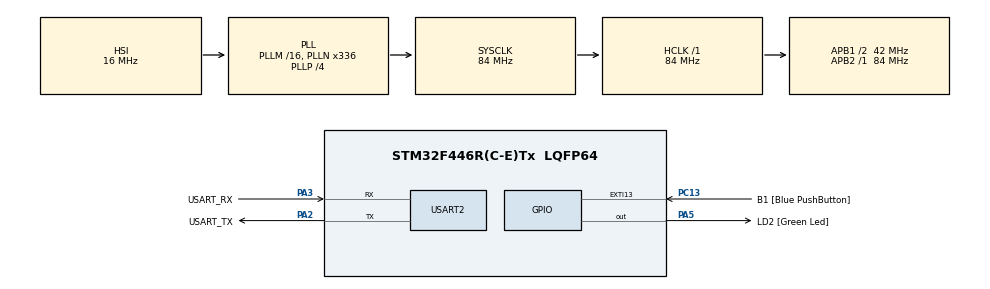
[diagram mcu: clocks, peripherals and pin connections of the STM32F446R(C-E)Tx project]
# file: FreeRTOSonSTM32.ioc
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FREERTOS.Tasks01=Task,0,128,StartTask,Default,NULL,Dynamic,NULL,NULL
FREERTOS.Timers01=myTimer01,Callback01,osTimerPeriodic,Default,NULL,Dynamic,NULL
FREERTOS.configUSE_TIMERS=1
Mcu.Family=STM32F4
Mcu.Name=STM32F446R(C-E)Tx
Mcu.Package=LQFP64
NVIC.EXTI15_10_IRQn=true\:5\:0\:false\:false\:true\:true\:true\:true
NVIC.PriorityGroup=NVIC_PRIORITYGROUP_4
PA13.GPIO_Label=TMS
PA13.Mode=Serial_Wire
PA13.Signal=SYS_JTMS-SWDIO
PA14.GPIO_Label=TCK
PA14.Mode=Serial_Wire
PA14.Signal=SYS_JTCK-SWCLK
PA2.GPIO_Label=USART_TX
PA2.Mode=Asynchronous
PA2.Signal=USART2_TX
PA3.GPIO_Label=USART_RX
PA3.Mode=Asynchronous
PA3.Signal=USART2_RX
PA5.GPIO_Label=LD2 [Green Led]
PA5.Signal=GPIO_Output
PB3.GPIO_Label=SWO
PB3.Signal=SYS_JTDO-SWO
PC13.GPIO_Label=B1 [Blue PushButton]
PC13.GPIO_ModeDefaultEXTI=GPIO_MODE_IT_FALLING
PC13.Signal=GPXTI13
PC14-OSC32_IN.Mode=LSE-External-Oscillator
PC14-OSC32_IN.Signal=RCC_OSC32_IN
PC15-OSC32_OUT.Mode=LSE-External-Oscillator
PC15-OSC32_OUT.Signal=RCC_OSC32_OUT
PH0-OSC_IN.Mode=HSE-External-Oscillator
PH0-OSC_IN.Signal=RCC_OSC_IN
PH1-OSC_OUT.Mode=HSE-External-Oscillator
PH1-OSC_OUT.Signal=RCC_OSC_OUT
ProjectManager.HeapSize=0x200
ProjectManager.StackSize=0x400
ProjectManager.TargetToolchain=STM32CubeIDE
RCC.48MHZClocksFreq_Value=84000000
RCC.AHBFreq_Value=84000000
RCC.APB1CLKDivider=RCC_HCLK_DIV2
RCC.APB1Freq_Value=42000000
RCC.APB1TimFreq_Value=84000000
RCC.APB2Freq_Value=84000000
RCC.APB2TimFreq_Value=84000000
RCC.CortexFreq_Value=84000000
RCC.FLatency-AdvancedSettings=FLASH_LATENCY_2
RCC.HCLKFreq_Value=84000000
RCC.HSE_VALUE=8000000
RCC.HSI_VALUE=16000000
RCC.PLLN=336
RCC.PLLP=RCC_PLLP_DIV4
RCC.SYSCLKFreq_VALUE=84000000
RCC.SYSCLKSource=RCC_SYSCLKSOURCE_PLLCLK
RCC.USBFreq_Value=168000000
RCC.VCOOutputFreq_Value=336000000
USART2.VirtualMode=VM_ASYNC
VP_FREERTOS_VS_CMSIS_V1.Mode=CMSIS_V1
board=NUCLEO-F446RE

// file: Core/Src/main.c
/* USER CODE BEGIN Header */
/**
  ******************************************************************************
  * @file           : main.c
  * @brief          : Main program body
  ******************************************************************************
  * @attention
  *
  * <h2><center>&copy; Copyright (c) 2020 STMicroelectronics.
  * All rights reserved.</center></h2>
  *
  * This software component is licensed by ST under BSD 3-Clause license,
  * the "License"; You may not use this file except in compliance with the
  * License. You may obtain a copy of the License at:
  *                        opensource.org/licenses/BSD-3-Clause
  *
  ******************************************************************************
  */
/* USER CODE END Header */

#include "main.h"
#include "cmsis_os.h"

/* USER CODE BEGIN PD */
#ifdef __GNUC__
  /* With GCC, small printf (option LD Linker->Libraries->Small printf
     set to 'Yes') calls __io_putchar() */
  #define PUTCHAR_PROTOTYPE int __io_putchar(int ch)
#else
  #define PUTCHAR_PROTOTYPE int fputc(int ch, FILE *f)
#endif /* __GNUC__ */

/**
 * defined signal
 */
#define SIGNAL_BUTTON_PRESS 1
/* USER CODE END PD */

UART_HandleTypeDef huart2;

osThreadId TaskHandle;
osTimerId myTimer01Handle;

void SystemClock_Config(void);
static void MX_GPIO_Init(void);
static void MX_USART2_UART_Init(void);
void StartTask(void const * argument);
void Callback01(void const * argument);

int main(void)
{

  /* MCU Configuration--------------------------------------------------------*/

  /* Reset of all peripherals, Initializes the Flash interface and the Systick. */
  HAL_Init();

  /* Configure the system clock */
  SystemClock_Config();

  /* Initialize all configured peripherals */
  MX_GPIO_Init();
  MX_USART2_UART_Init();
  /* USER CODE BEGIN 2 */
  printf("Using printf\r\n");
  /* USER CODE END 2 */

  /* Create the timer(s) */
  /* definition and creation of myTimer01 */
  osTimerDef(myTimer01, Callback01);
  myTimer01Handle = osTimerCreate(osTimer(myTimer01), osTimerPeriodic, NULL);

  /* Create the thread(s) */
  /* definition and creation of Task */
  osThreadDef(Task, StartTask, osPriorityNormal, 0, 128);
  TaskHandle = osThreadCreate(osThread(Task), NULL);

  /* Start scheduler */
  osKernelStart();

  /* We should never get here as control is now taken by the scheduler */
  /* Infinite loop */
  while (1)
  {

  }
}

void SystemClock_Config(void)
{
  RCC_OscInitTypeDef RCC_OscInitStruct = {0};
  RCC_ClkInitTypeDef RCC_ClkInitStruct = {0};

  /** Configure the main internal regulator output voltage
  */
  __HAL_RCC_PWR_CLK_ENABLE();
  __HAL_PWR_VOLTAGESCALING_CONFIG(PWR_REGULATOR_VOLTAGE_SCALE3);
  /** Initializes the CPU, AHB and APB busses clocks
  */
  RCC_OscInitStruct.OscillatorType = RCC_OSCILLATORTYPE_HSI;
  RCC_OscInitStruct.HSIState = RCC_HSI_ON;
  RCC_OscInitStruct.HSICalibrationValue = RCC_HSICALIBRATION_DEFAULT;
  RCC_OscInitStruct.PLL.PLLState = RCC_PLL_ON;
  RCC_OscInitStruct.PLL.PLLSource = RCC_PLLSOURCE_HSI;
  RCC_OscInitStruct.PLL.PLLM = 16;
  RCC_OscInitStruct.PLL.PLLN = 336;
  RCC_OscInitStruct.PLL.PLLP = RCC_PLLP_DIV4;
  RCC_OscInitStruct.PLL.PLLQ = 2;
  RCC_OscInitStruct.PLL.PLLR = 2;
  if (HAL_RCC_OscConfig(&RCC_OscInitStruct) != HAL_OK)
  {
    Error_Handler();
  }
  /** Initializes the CPU, AHB and APB busses clocks
  */
  RCC_ClkInitStruct.ClockType = RCC_CLOCKTYPE_HCLK|RCC_CLOCKTYPE_SYSCLK
                              |RCC_CLOCKTYPE_PCLK1|RCC_CLOCKTYPE_PCLK2;
  RCC_ClkInitStruct.SYSCLKSource = RCC_SYSCLKSOURCE_PLLCLK;
  RCC_ClkInitStruct.AHBCLKDivider = RCC_SYSCLK_DIV1;
  RCC_ClkInitStruct.APB1CLKDivider = RCC_HCLK_DIV2;
  RCC_ClkInitStruct.APB2CLKDivider = RCC_HCLK_DIV1;

  if (HAL_RCC_ClockConfig(&RCC_ClkInitStruct, FLASH_LATENCY_2) != HAL_OK)
  {
    Error_Handler();
  }
}

static void MX_USART2_UART_Init(void)
{

  huart2.Instance = USART2;
  huart2.Init.BaudRate = 115200;
  huart2.Init.WordLength = UART_WORDLENGTH_8B;
  huart2.Init.StopBits = UART_STOPBITS_1;
  huart2.Init.Parity = UART_PARITY_NONE;
  huart2.Init.Mode = UART_MODE_TX_RX;
  huart2.Init.HwFlowCtl = UART_HWCONTROL_NONE;
  huart2.Init.OverSampling = UART_OVERSAMPLING_16;
  if (HAL_UART_Init(&huart2) != HAL_OK)
  {
    Error_Handler();
  }

}

static void MX_GPIO_Init(void)
{
  GPIO_InitTypeDef GPIO_InitStruct = {0};

  /* GPIO Ports Clock Enable */
  __HAL_RCC_GPIOC_CLK_ENABLE();
  __HAL_RCC_GPIOH_CLK_ENABLE();
  __HAL_RCC_GPIOA_CLK_ENABLE();
  __HAL_RCC_GPIOB_CLK_ENABLE();

  /*Configure GPIO pin Output Level */
  HAL_GPIO_WritePin(LD2_GPIO_Port, LD2_Pin, GPIO_PIN_RESET);

  /*Configure GPIO pin : B1_Pin */
  GPIO_InitStruct.Pin = B1_Pin;
  GPIO_InitStruct.Mode = GPIO_MODE_IT_FALLING;
  GPIO_InitStruct.Pull = GPIO_NOPULL;
  HAL_GPIO_Init(B1_GPIO_Port, &GPIO_InitStruct);

  /*Configure GPIO pin : LD2_Pin */
  GPIO_InitStruct.Pin = LD2_Pin;
  GPIO_InitStruct.Mode = GPIO_MODE_OUTPUT_PP;
  GPIO_InitStruct.Pull = GPIO_NOPULL;
  GPIO_InitStruct.Speed = GPIO_SPEED_FREQ_LOW;
  HAL_GPIO_Init(LD2_GPIO_Port, &GPIO_InitStruct);

  /* EXTI interrupt init*/
  HAL_NVIC_SetPriority(EXTI15_10_IRQn, 5, 0);
  HAL_NVIC_EnableIRQ(EXTI15_10_IRQn);

}

/* USER CODE BEGIN 4 */
PUTCHAR_PROTOTYPE
{
  /* Place your implementation of fputc here */
  /* e.g. write a character to the EVAL_COM1 and Loop until the end of transmission */
  HAL_UART_Transmit(&huart2, (uint8_t *)&ch, 1, 0xFFFF);

  return ch;
}

void HAL_GPIO_EXTI_Callback(uint16_t GPIO_Pin)
{
	osDelay(1);
}
/* USER CODE END 4 */

void StartTask(void const * argument)
{
  /* USER CODE BEGIN 5 */
	osTimerStart(myTimer01Handle,1000);
  /* Infinite loop */
  for(;;)
  {
	osDelay(1000);
	printf("Task Execution\n\r");
  }
  /* USER CODE END 5 */
}

/* Callback01 function */
void Callback01(void const * argument)
{
  /* USER CODE BEGIN Callback01 */
  HAL_GPIO_TogglePin(LD2_GPIO_Port,LD2_Pin);
  /* USER CODE END Callback01 */
}

void Error_Handler(void)
{
}

/************************ (C) COPYRIGHT STMicroelectronics *****END OF FILE****/

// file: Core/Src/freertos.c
/* USER CODE BEGIN Header */
/**
  ******************************************************************************
  * File Name          : freertos.c
  * Description        : Code for freertos applications
  ******************************************************************************
  * @attention
  *
  * <h2><center>&copy; Copyright (c) 2020 STMicroelectronics.
  * All rights reserved.</center></h2>
  *
  * This software component is licensed by ST under Ultimate Liberty license
  * SLA0044, the "License"; You may not use this file except in compliance with
  * the License. You may obtain a copy of the License at:
  *                             www.st.com/SLA0044
  *
  ******************************************************************************
  */
/* USER CODE END Header */

#include "FreeRTOS.h"
#include "task.h"
#include "main.h"

/* GetIdleTaskMemory prototype (linked to static allocation support) */
void vApplicationGetIdleTaskMemory( StaticTask_t **ppxIdleTaskTCBBuffer, StackType_t **ppxIdleTaskStackBuffer, uint32_t *pulIdleTaskStackSize );

/* GetTimerTaskMemory prototype (linked to static allocation support) */
void vApplicationGetTimerTaskMemory( StaticTask_t **ppxTimerTaskTCBBuffer, StackType_t **ppxTimerTaskStackBuffer, uint32_t *pulTimerTaskStackSize );

/* USER CODE BEGIN GET_IDLE_TASK_MEMORY */
static StaticTask_t xIdleTaskTCBBuffer;
static StackType_t xIdleStack[configMINIMAL_STACK_SIZE];

void vApplicationGetIdleTaskMemory( StaticTask_t **ppxIdleTaskTCBBuffer, StackType_t **ppxIdleTaskStackBuffer, uint32_t *pulIdleTaskStackSize )
{
  *ppxIdleTaskTCBBuffer = &xIdleTaskTCBBuffer;
  *ppxIdleTaskStackBuffer = &xIdleStack[0];
  *pulIdleTaskStackSize = configMINIMAL_STACK_SIZE;
  /* place for user code */
}
/* USER CODE END GET_IDLE_TASK_MEMORY */

/* USER CODE BEGIN GET_TIMER_TASK_MEMORY */
static StaticTask_t xTimerTaskTCBBuffer;
static StackType_t xTimerStack[configTIMER_TASK_STACK_DEPTH];

void vApplicationGetTimerTaskMemory( StaticTask_t **ppxTimerTaskTCBBuffer, StackType_t **ppxTimerTaskStackBuffer, uint32_t *pulTimerTaskStackSize )
{
  *ppxTimerTaskTCBBuffer = &xTimerTaskTCBBuffer;
  *ppxTimerTaskStackBuffer = &xTimerStack[0];
  *pulTimerTaskStackSize = configTIMER_TASK_STACK_DEPTH;
  /* place for user code */
}
/* USER CODE END GET_TIMER_TASK_MEMORY */

/************************ (C) COPYRIGHT STMicroelectronics *****END OF FILE****/
